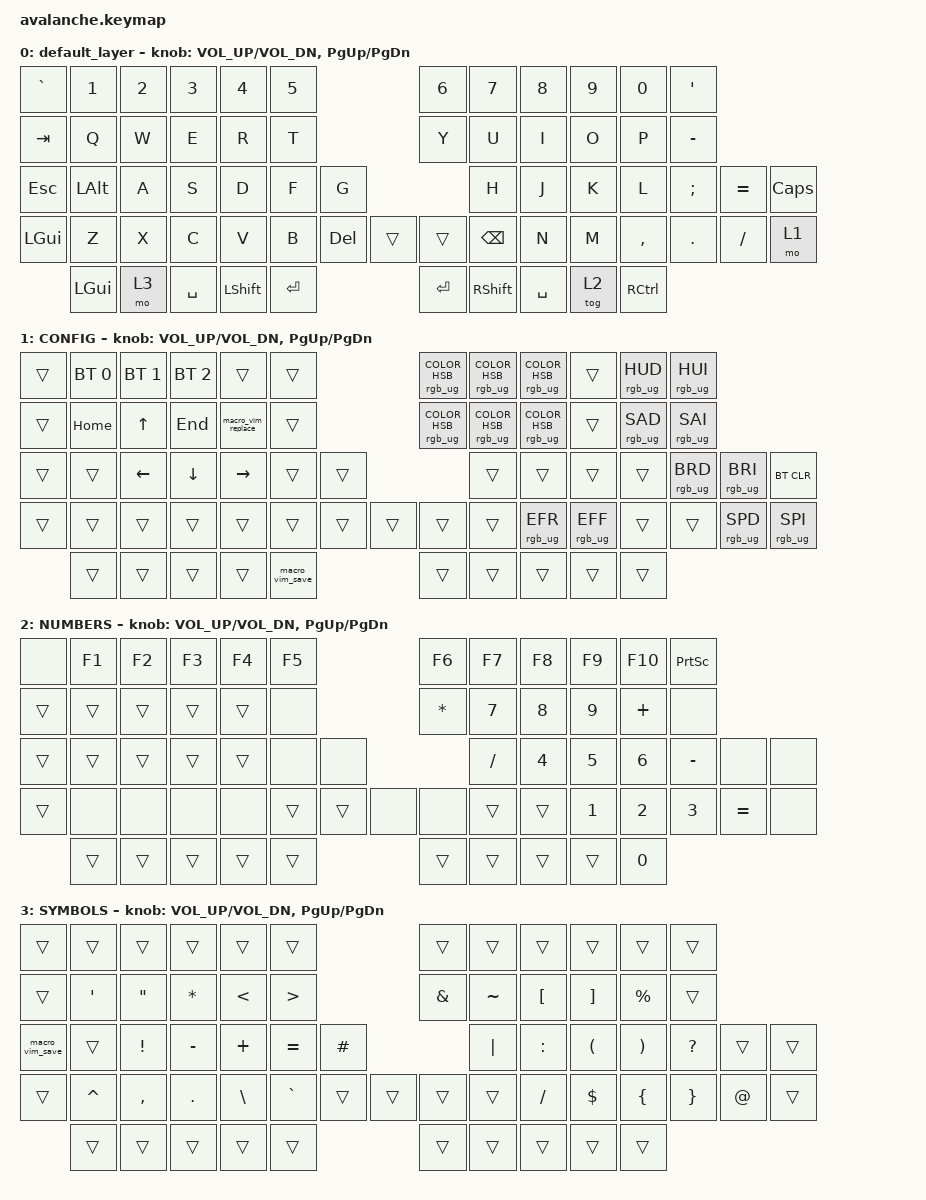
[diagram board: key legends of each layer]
#include <behaviors.dtsi>
#include <dt-bindings/zmk/bt.h>
#include <dt-bindings/zmk/keys.h>
#include <dt-bindings/zmk/rgb.h>

&lt {
    tapping-term-ms = <220>;
    quick-tap-ms = <150>;
};

/ {
    behaviors {
      
    };

    keymap {
        compatible = "zmk,keymap";

        default_layer {
            // ---------------------------------------------------------------------------------------------------------------------------------------------
            //            |  `  |  1  |  2  |  3  |  4  |  5  |                                             |  6  |  7  |  8  |  9  |  0  |  '  |
            //            | TAB |  Q  |  W  |  E  |  R  |  T  |                                             |  Y  |  U  |  I  |  O  |  P  |  [  | 
            //    |  ESC  |CTRL |  A  |  S  |  D  |  F  |  G  |                                             |  H  |  J  |  K  |  L  |  ;  |  '  |  \   |
            //            |SHIFT|  Z  |  X  |  C  |  V  |  B  |  DEL  |                              | BSPC |  N  |  M  |  ,  |  .  |  /  |  -  |
            //                        | GUI | ALT |SPACE|RAISE| ENTER |                              | ENTER|  =  |SPACE|MO(1)|MO(2)|
            // ---------------------------------------------------------------------------------------------------------------------------------------------

            bindings = <
&kp GRAVE     &kp N1        &kp N2  &kp N3     &kp N4          &kp N5                         &kp N6     &kp N7           &kp N8     &kp N9  &kp N0             &kp SQT
&kp TAB       &kp Q         &kp W   &kp E      &kp R           &kp T                          &kp Y      &kp U            &kp I      &kp O   &kp P              &kp MINUS
&kp ESCAPE    &kp LEFT_ALT  &kp A   &kp S      &kp D           &kp F      &kp G                          &kp H            &kp J      &kp K   &kp L              &kp SEMICOLON  &kp EQUAL  &kp CAPSLOCK
&kp LEFT_GUI  &kp Z         &kp X   &kp C      &kp V           &kp B      &kp DELETE  &trans  &trans     &kp BACKSPACE    &kp N      &kp M   &kp COMMA          &kp PERIOD     &kp FSLH   &mo 1
              &kp LEFT_GUI  &mo 3   &kp SPACE  &kp LEFT_SHIFT  &kp ENTER                      &kp ENTER  &kp RIGHT_SHIFT  &kp SPACE  &tog 2  &kp RIGHT_CONTROL
            >;

                       sensor-bindings = <&inc_dec_kp C_VOL_UP C_VOL_DN &inc_dec_kp PG_UP PG_DN>;
        };

        CONFIG {
            bindings = <
&trans  &bt BT_SEL 0  &bt BT_SEL 1    &bt BT_SEL 2    &trans              &trans                           &rgb_ug RGB_COLOR_HSB(308,100,50)  &rgb_ug RGB_COLOR_HSB(334,100,50)  &rgb_ug RGB_COLOR_HSB(121,100,48)  &trans           &rgb_ug RGB_HUD  &rgb_ug RGB_HUI
&trans  &kp HOME      &kp UP_ARROW    &kp END         &macro_vim_replace  &trans                           &rgb_ug RGB_COLOR_HSB(0,100,50)    &rgb_ug RGB_COLOR_HSB(182,100,50)  &rgb_ug RGB_COLOR_HSB(251,100,49)  &trans           &rgb_ug RGB_SAD  &rgb_ug RGB_SAI
&trans  &trans        &kp LEFT_ARROW  &kp DOWN_ARROW  &kp RIGHT           &trans           &trans                                             &trans                             &trans                             &trans           &trans           &rgb_ug RGB_BRD  &rgb_ug RGB_BRI  &bt BT_CLR
&trans  &trans        &trans          &trans          &trans              &trans           &trans  &trans  &trans                             &trans                             &rgb_ug RGB_EFR                    &rgb_ug RGB_EFF  &trans           &trans           &rgb_ug RGB_SPD  &rgb_ug RGB_SPI
        &trans        &trans          &trans          &trans              &macro_vim_save                  &trans                             &trans                             &trans                             &trans           &trans
            >;

             sensor-bindings = <&inc_dec_kp C_VOL_UP C_VOL_DN &inc_dec_kp PG_UP PG_DN>;
        };

        NUMBERS {
            // ---------------------------------------------------------------------------------------------------------------------------------------------
            //            |     |     |     |     |     |     |                                          |     |     |     |     |     |     |
            //            |     | HOME|  UP | END |     |     |                                          |     |HOME |     |END  |     |     |
            //       |    |     | LEFT| DOWN|RIGHT|     |     |                                          |SCLUP|LEFT |  UP |  A  |PG_UP|     |    |
            //            |     |     |     |     |     |     |     |                              |     |SCLDN|LEFT | DOWN|RIGHT|PG_DN|     |
            //                        |     |     |     |     |     |                              |     |     |     |     |     |
            // ---------------------------------------------------------------------------------------------------------------------------------------------

            bindings = <
&none   &kp F1  &kp F2  &kp F3  &kp F4  &kp F5                 &kp F6        &kp F7     &kp F8        &kp F9        &kp F10       &kp PRINTSCREEN
&trans  &trans  &trans  &trans  &trans  &none                  &kp ASTERISK  &kp N7     &kp N8        &kp N9        &kp PLUS      &none
&trans  &trans  &trans  &trans  &trans  &none   &none                        &kp SLASH  &kp NUMBER_4  &kp N5        &kp NUMBER_6  &kp MINUS        &none      &none
&trans  &none   &none   &none   &none   &trans  &trans  &none  &none         &trans     &trans        &kp NUMBER_1  &kp NUMBER_2  &kp NUMBER_3     &kp EQUAL  &none
        &trans  &trans  &trans  &trans  &trans                 &trans        &trans     &trans        &trans        &kp NUMBER_0
            >;

              sensor-bindings = <&inc_dec_kp C_VOL_UP C_VOL_DN &inc_dec_kp PG_UP PG_DN>;
        };

        SYMBOLS {
            bindings = <
&trans           &trans     &trans             &trans      &trans         &trans                              &trans         &trans     &trans            &trans                &trans                 &trans
&trans           &kp APOS   &kp DOUBLE_QUOTES  &kp ASTRK   &kp LESS_THAN  &kp GREATER_THAN                    &kp AMPERSAND  &kp TILDE  &kp LEFT_BRACKET  &kp RIGHT_BRACKET     &kp PERCENT            &trans
&macro_vim_save  &trans     &kp EXCLAMATION    &kp MINUS   &kp PLUS       &kp EQUAL         &kp HASH                         &kp PIPE   &kp COLON         &kp LEFT_PARENTHESIS  &kp RIGHT_PARENTHESIS  &kp QUESTION     &trans       &trans
&trans           &kp CARET  &kp COMMA          &kp PERIOD  &kp BACKSLASH  &kp GRAVE         &trans    &trans  &trans         &trans     &kp SLASH         &kp DOLLAR            &kp LEFT_BRACE         &kp RIGHT_BRACE  &kp AT_SIGN  &trans
                 &trans     &trans             &trans      &trans         &trans                              &trans         &trans     &trans            &trans                &trans
            >;

             sensor-bindings = <&inc_dec_kp C_VOL_UP C_VOL_DN &inc_dec_kp PG_UP PG_DN>;
        };
    };
};
